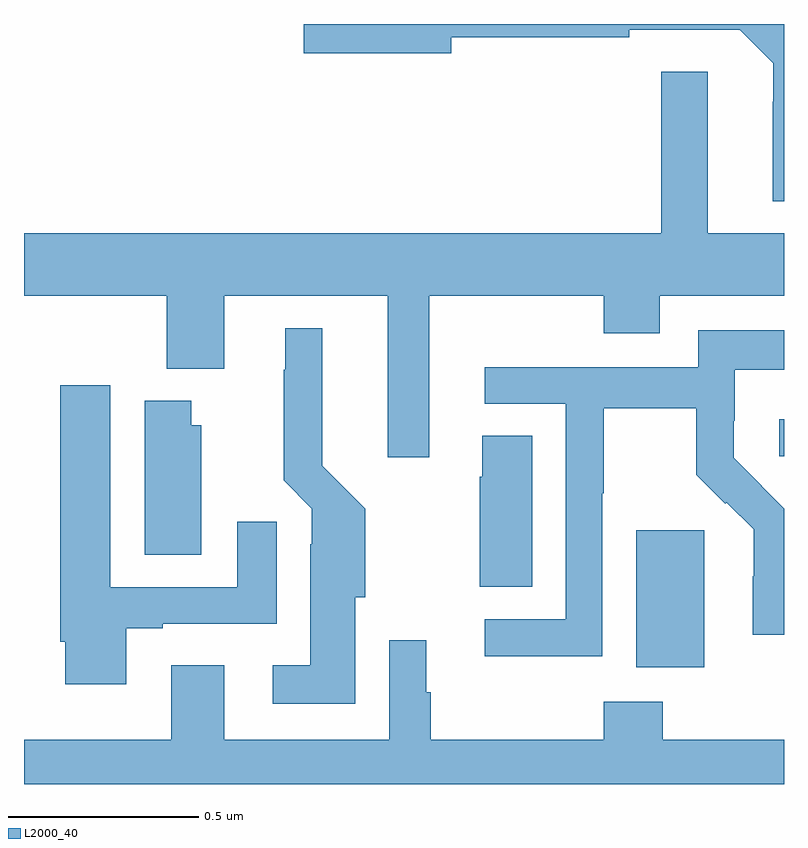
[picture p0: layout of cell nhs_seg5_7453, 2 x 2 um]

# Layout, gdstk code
import gdstk
lib = gdstk.Library(unit=1e-6, precision=1e-09)
def R(c, l, rs):  # rectangles x0, y0, x1, y1
    for r in rs: c.add(gdstk.rectangle(r[:2], r[2:], *l))
def P(c, l, *ps):  # polygons
    for p in ps: c.add(gdstk.Polygon(p, *l))
L2000_40 = (2000, 40)

nhs_seg5_7453 = lib.new_cell('nhs_seg5_7453')
R(nhs_seg5_7453, L2000_40, [(210.611,865.106,210.79,865.467), (210.987,865.662,211,865.759)])
P(nhs_seg5_7453, L2000_40, [(211,866.799),(209.736,866.799),(209.736,866.722),(210.124,866.722),(210.124,866.764),(210.593,866.764),(210.593,866.784),(210.884,866.784),(210.972,866.696),(210.972,866.594),(210.971,866.594),(210.971,866.333),(211,866.333)],
  [(210.067,866.084),(210.526,866.084),(210.526,865.985),(210.673,865.985),(210.673,866.084),(211,866.084),(211,866.248),(210.799,866.248),(210.799,866.674),(210.677,866.674),(210.677,866.248),(209,866.248),(209,866.084),(209.375,866.084),(209.375,865.892),(209.527,865.892),(209.527,866.084),(209.957,866.084),(209.957,865.659),(210.067,865.659)],
  [(209.872,865.29),(209.898,865.29),(209.898,865.523),(209.785,865.636),(209.785,865.999),(209.687,865.999),(209.687,865.889),(209.683,865.889),(209.683,865.598),(209.757,865.524),(209.757,865.43),(209.753,865.43),(209.753,865.111),(209.655,865.111),(209.655,865.01),(209.872,865.01)],
  [(210.522,865.564),(210.525,865.564),(210.525,865.788),(210.769,865.788),(210.769,865.613),(210.846,865.536),(210.849,865.539),(210.92,865.469),(210.92,865.346),(210.918,865.346),(210.918,865.192),(211,865.192),(211,865.524),(210.941,865.583),(210.942,865.584),(210.868,865.658),(210.868,865.755),(210.87,865.755),(210.87,865.889),(211,865.889),(211,865.993),(210.774,865.993),(210.774,865.896),(210.213,865.896),(210.213,865.8),(210.426,865.8),(210.426,865.233),(210.213,865.233),(210.213,865.135),(210.522,865.135)],
  [(209.269,865.209),(209.365,865.209),(209.365,865.221),(209.665,865.221),(209.665,865.489),(209.561,865.489),(209.561,865.317),(209.227,865.317),(209.227,865.849),(209.096,865.849),(209.096,865.174),(209.108,865.174),(209.108,865.062),(209.269,865.062)],
  [(209.467,865.743),(209.44,865.743),(209.44,865.807),(209.318,865.807),(209.318,865.402),(209.467,865.402)],
  [(210.337,865.715),(210.206,865.715),(210.206,865.607),(210.199,865.607),(210.199,865.318),(210.337,865.318)],
  [(211,864.916),(210.681,864.916),(210.681,865.015),(210.526,865.015),(210.526,864.916),(210.07,864.916),(210.07,865.04),(210.058,865.04),(210.058,865.177),(209.961,865.177),(209.961,864.916),(209.527,864.916),(209.527,865.111),(209.387,865.111),(209.387,864.916),(209,864.916),(209,864.799),(211,864.799)])

lib.write_gds('nhs_seg5_7453.gds')
